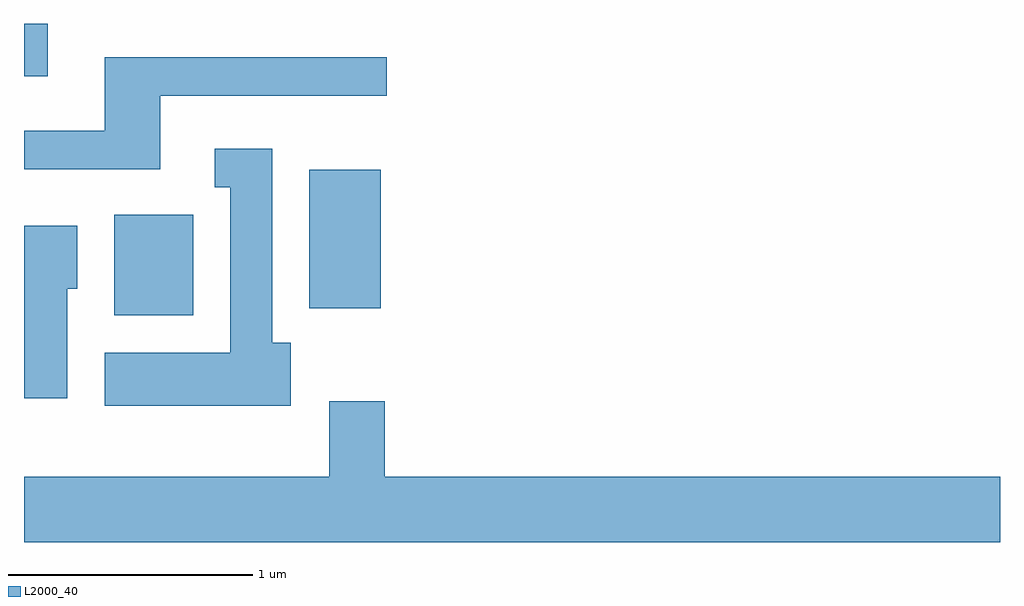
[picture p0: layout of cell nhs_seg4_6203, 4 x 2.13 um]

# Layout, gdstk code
import gdstk
lib = gdstk.Library(unit=1e-6, precision=1e-09)
def R(c, l, rs):  # rectangles x0, y0, x1, y1
    for r in rs: c.add(gdstk.rectangle(r[:2], r[2:], *l))
def P(c, l, *ps):  # polygons
    for p in ps: c.add(gdstk.Polygon(p, *l))
L2000_40 = (2000, 40)

nhs_seg4_6203 = lib.new_cell('nhs_seg4_6203')
R(nhs_seg4_6203, L2000_40, [(367.981,1286.786,368.304,1287.199), (368.781,1286.816,369.074,1287.384), (367.611,1287.766,367.709,1287.982)])
P(nhs_seg4_6203, L2000_40, [(368.169,1287.686),(369.098,1287.686),(369.098,1287.844),(367.941,1287.844),(367.941,1287.544),(367.611,1287.544),(367.611,1287.386),(368.169,1287.386)],
  [(368.704,1286.674),(368.629,1286.674),(368.629,1287.469),(368.393,1287.469),(368.393,1287.311),(368.456,1287.311),(368.456,1286.634),(367.941,1286.634),(367.941,1286.416),(368.704,1286.416)],
  [(367.789,1286.896),(367.829,1286.896),(367.829,1287.154),(367.611,1287.154),(367.611,1286.446),(367.789,1286.446)],
  [(371.611,1286.124),(369.089,1286.124),(369.089,1286.434),(368.861,1286.434),(368.861,1286.124),(367.611,1286.124),(367.611,1285.856),(371.611,1285.856)])

lib.write_gds('nhs_seg4_6203.gds')
